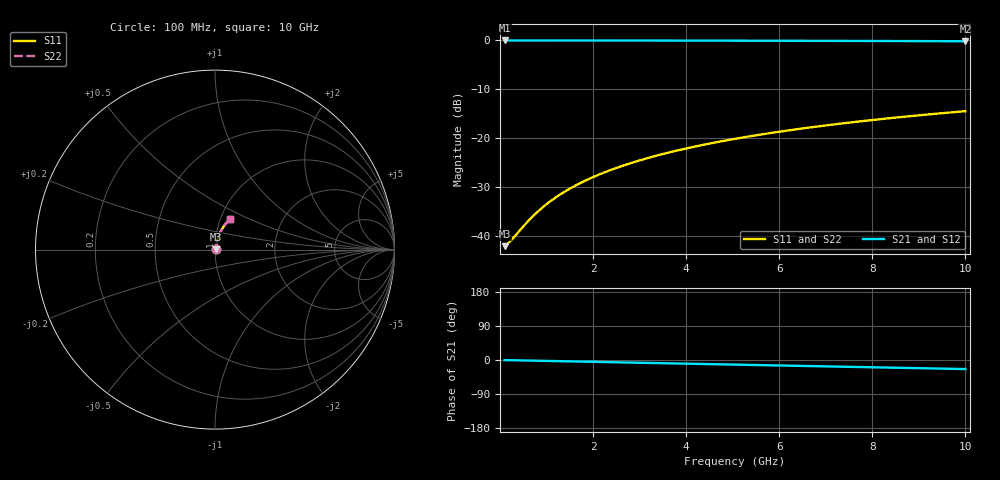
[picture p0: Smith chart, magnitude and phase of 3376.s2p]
# Hz S RI R 50.00
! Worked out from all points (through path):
!   100 points, 100 MHz to 10 GHz, reference 50 ohm
!   highest |S21| = -0.07 dB at 100 MHz (marker M1); lowest = -0.2 dB at 10 GHz (marker M2)
!   group delay of S21, straight-line fit = 6.65 ps
!   lowest |S11| = -42.1 dB at 100 MHz (marker M3), VSWR 1.02, Z = 50.8 + j0.196 ohm
!   |S11| at or under -10 dB: start of sweep to end of sweep
!   |S22| runs from -42.1 to -14.5 dB; largest |S21 - S12| = 0
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1e8  0.00762 0.00193  0.9924 -0.00419  0.9924 -0.00419  0.00762 0.00193
2e8  0.00769 0.00385  0.9923 -0.00837  0.9923 -0.00837  0.00769 0.00385
3e8  0.00777 0.00578  0.9922 -0.0126  0.9922 -0.0126  0.00777 0.00578
5e8  0.00795 0.00962  0.992 -0.0209  0.992 -0.0209  0.00795 0.00962
7e8  0.00819 0.0135  0.9917 -0.0293  0.9917 -0.0293  0.00819 0.0135
9e8  0.00848 0.0173  0.9913 -0.0377  0.9913 -0.0377  0.00848 0.0173
1.1e9  0.00884 0.0211  0.9908 -0.046  0.9908 -0.046  0.00884 0.0211
1.3e9  0.00925 0.025  0.9903 -0.0544  0.9903 -0.0544  0.00925 0.025
1.5e9  0.00973 0.0288  0.9897 -0.0627  0.9897 -0.0627  0.00973 0.0288
1.8e9  0.0106 0.0345  0.9886 -0.0752  0.9886 -0.0752  0.0106 0.0345
2.1e9  0.0115 0.0402  0.9873 -0.0877  0.9873 -0.0877  0.0115 0.0402
2.5e9  0.0131 0.0477  0.9853 -0.1042  0.9853 -0.1042  0.0131 0.0477
2.9e9  0.0148 0.0552  0.9829 -0.1208  0.9829 -0.1208  0.0148 0.0552
3.4e9  0.0174 0.0644  0.9796 -0.1413  0.9796 -0.1413  0.0174 0.0644
3.8e9  0.0197 0.0717  0.9765 -0.1577  0.9765 -0.1577  0.0197 0.0717
4.2e9  0.0223 0.0789  0.9731 -0.1739  0.9731 -0.1739  0.0223 0.0789
5.1e9  0.0289 0.0948  0.9643 -0.2101  0.9643 -0.2101  0.0289 0.0948
5.9e9  0.0358 0.1083  0.9551 -0.2418  0.9551 -0.2418  0.0358 0.1083
6.7e9  0.0435 0.1214  0.9448 -0.273  0.9448 -0.273  0.0435 0.1214
7.5e9  0.052 0.1339  0.9333 -0.3036  0.9333 -0.3036  0.052 0.1339
8.4e9  0.0626 0.1471  0.919 -0.3372  0.919 -0.3372  0.0626 0.1471
1e10  0.0835 0.1685  0.8903 -0.3947  0.8903 -0.3947  0.0835 0.1685
